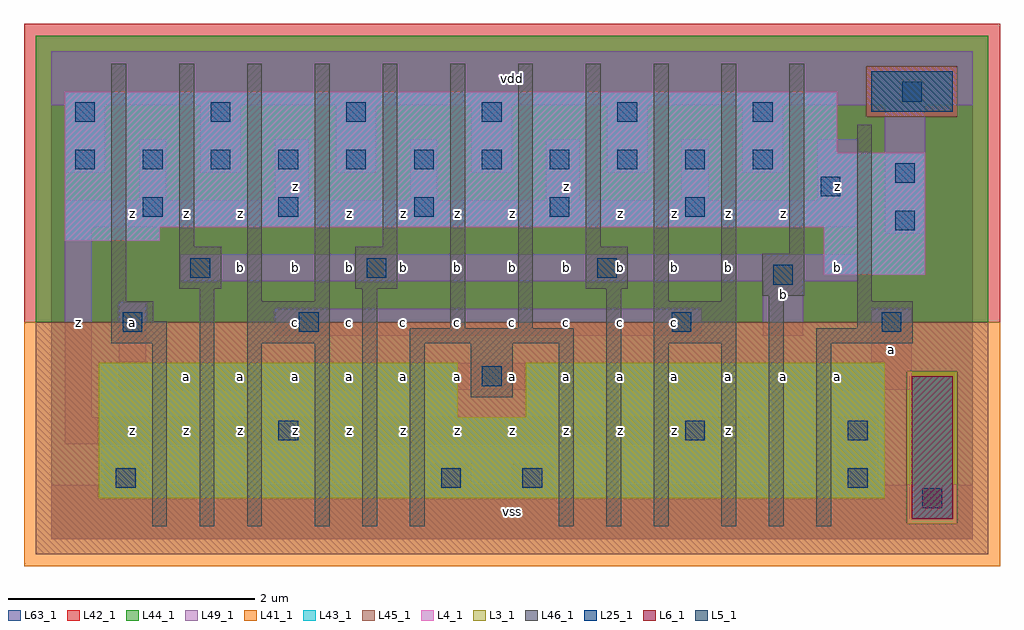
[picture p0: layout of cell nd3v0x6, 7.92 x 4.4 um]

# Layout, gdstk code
import gdstk
lib = gdstk.Library(unit=1e-6, precision=1e-09)
def R(c, l, rs):  # rectangles x0, y0, x1, y1
    for r in rs: c.add(gdstk.rectangle(r[:2], r[2:], *l))
def A(c, l, x, y, w, h, nx, ny, dx, dy):  # array of equal rectangles
    R(c, l, [(x+i*dx, y+j*dy, x+i*dx+w, y+j*dy+h) for i in range(nx) for j in range(ny)])
L3_1 = (3, 1)
L4_1 = (4, 1)
L5_1 = (5, 1)
L6_1 = (6, 1)
L25_1 = (25, 1)
L41_1 = (41, 1)
L42_1 = (42, 1)
L43_1 = (43, 1)
L44_1 = (44, 1)
L45_1 = (45, 1)
L46_1 = (46, 1)
L49_1 = (49, 1)
L63_1 = (63, 1)

nd3v0x6 = lib.new_cell('nd3v0x6')
R(nd3v0x6, L3_1, [(0.385,0.33,6.765,0.99), (0.385,0.99,3.3,1.43), (3.85,0.99,6.765,1.43)])
R(nd3v0x6, L4_1, [(6.27,2.145,7.095,2.53), (0.11,2.42,0.88,2.53), (0.11,2.53,7.095,3.135), (0.11,3.135,6.38,3.63)])
R(nd3v0x6, L5_1, [(6.655,3.465,7.315,3.795)])
R(nd3v0x6, L6_1, [(6.985,0.165,7.315,1.32)])
A(nd3v0x6, L25_1, 0.745, 2.615, 0.16, 0.16, 5, 1, 1.1, 0)
A(nd3v0x6, L25_1, 0.195, 3, 0.16, 0.16, 11, 1, 0.55, 0)
A(nd3v0x6, L25_1, 0.195, 3.385, 0.16, 0.16, 6, 1, 1.1, 0)
R(nd3v0x6, L25_1, [(7.07,0.25,7.23,0.41), (0.525,0.415,0.685,0.575), (3.165,0.415,3.325,0.575), (3.825,0.415,3.985,0.575), (6.465,0.415,6.625,0.575), (1.845,0.8,2.005,0.96), (5.145,0.8,5.305,0.96), (6.465,0.8,6.625,0.96), (3.495,1.24,3.655,1.4), (0.58,1.68,0.74,1.84), (2.01,1.68,2.17,1.84), (5.035,1.68,5.195,1.84), (6.74,1.68,6.9,1.84), (5.86,2.065,6.02,2.225), (1.13,2.12,1.29,2.28), (2.56,2.12,2.72,2.28), (4.43,2.12,4.59,2.28), (6.85,2.505,7.01,2.665), (6.245,2.78,6.405,2.94), (6.85,2.89,7.01,3.05), (6.905,3.55,7.065,3.71)])
R(nd3v0x6, L41_1, [(-0.22,-0.22,7.7,1.76)])
R(nd3v0x6, L42_1, [(-0.22,1.76,7.7,4.18)])
R(nd3v0x6, L43_1, [(6.985,0.165,7.315,1.32), (0.385,0.33,6.765,0.99), (0.385,0.99,3.3,1.43), (3.85,0.99,6.765,1.43), (6.27,2.145,7.095,2.53), (0.11,2.42,0.88,2.53), (0.11,2.53,7.095,3.135), (0.11,3.135,6.38,3.63), (6.655,3.465,7.315,3.795)])
R(nd3v0x6, L44_1, [(6.945,0.125,7.355,1.36), (-0.125,1.76,7.605,3.425), (-0.125,3.425,6.615,3.835), (7.355,3.425,7.605,3.835), (-0.125,3.835,7.605,4.085)])
R(nd3v0x6, L45_1, [(-0.125,-0.125,7.605,0.125), (-0.125,0.125,6.945,1.36), (7.355,0.125,7.605,1.36), (-0.125,1.36,7.605,1.76), (6.615,3.425,7.355,3.835)])
A(nd3v0x6, L46_1, 1.04, 2.37, 0.12, 1.485, 3, 1, 1.65, 0)
R(nd3v0x6, L46_1, [(0.82,0.105,0.94,1.59), (1.205,0.105,1.325,2.03), (1.59,0.105,1.71,1.59), (2.14,0.105,2.26,1.59), (2.525,0.105,2.645,2.03), (2.91,0.105,3.03,1.59), (4.12,0.105,4.24,1.59), (4.505,0.105,4.625,2.03), (4.89,0.105,5.01,1.59), (5.44,0.105,5.56,1.59), (5.825,0.105,5.945,1.975), (6.21,0.105,6.33,1.59), (3.405,1.15,3.745,1.59), (0.49,1.59,0.94,1.765), (1.59,1.59,2.26,1.93), (2.91,1.59,4.24,1.71), (4.89,1.59,5.56,1.93), (6.21,1.59,6.99,1.71), (3.24,1.71,3.36,3.855), (3.79,1.71,3.91,3.855), (6.54,1.71,6.99,1.93), (0.49,1.765,0.83,1.93), (0.49,1.93,0.61,3.855), (1.59,1.93,1.71,3.855), (2.14,1.93,2.26,3.855), (4.89,1.93,5.01,3.855), (5.44,1.93,5.56,3.855), (6.54,1.93,6.66,3.36), (5.77,1.975,6.11,2.315), (1.04,2.03,1.38,2.37), (2.47,2.03,2.81,2.37), (4.34,2.03,4.68,2.37), (5.99,2.315,6.11,3.855)])
A(nd3v0x6, L49_1, 0.715, 2.75, 0.22, 0.495, 3, 1, 2.2, 0)
A(nd3v0x6, L49_1, 0.11, 2.97, 0.33, 0.55, 6, 1, 1.1, 0)
R(nd3v0x6, L49_1, [(0,0,7.48,0.44), (0.44,0.44,0.77,0.605), (3.08,0.44,3.41,0.605), (3.74,0.44,4.07,0.605), (6.38,0.44,6.71,0.99), (0.11,0.77,5.665,0.99), (0.11,0.99,0.33,2.53), (0.55,1.21,6.985,1.43), (0.55,1.43,0.77,1.925), (6.655,1.43,6.985,1.87), (1.815,1.65,5.28,1.87), (5.775,1.65,6.105,2.09), (1.045,2.09,6.545,2.31), (6.765,2.475,7.095,3.52), (0.11,2.53,6.545,2.75), (1.815,2.75,2.09,3.245), (4.015,2.75,4.29,3.245), (6.215,2.75,6.545,3.245), (0,3.52,7.48,3.96)])
R(nd3v0x6, L63_1, [(0,0,7.48,3.96)])
nd3v0x6.add(gdstk.Label('z', (0.66,0.88), layer=49, texttype=1))
nd3v0x6.add(gdstk.Label('z', (0.22,1.76), layer=49, texttype=1))
nd3v0x6.add(gdstk.Label('a', (0.66,1.76), layer=49, texttype=1))
nd3v0x6.add(gdstk.Label('z', (0.66,2.64), layer=49, texttype=1))
nd3v0x6.add(gdstk.Label('z', (1.1,0.88), layer=49, texttype=1))
nd3v0x6.add(gdstk.Label('z', (1.54,0.88), layer=49, texttype=1))
nd3v0x6.add(gdstk.Label('z', (1.98,0.88), layer=49, texttype=1))
nd3v0x6.add(gdstk.Label('a', (1.54,1.32), layer=49, texttype=1))
nd3v0x6.add(gdstk.Label('a', (1.98,1.32), layer=49, texttype=1))
nd3v0x6.add(gdstk.Label('a', (1.1,1.32), layer=49, texttype=1))
nd3v0x6.add(gdstk.Label('c', (1.98,1.76), layer=49, texttype=1))
nd3v0x6.add(gdstk.Label('b', (1.54,2.2), layer=49, texttype=1))
nd3v0x6.add(gdstk.Label('b', (1.98,2.2), layer=49, texttype=1))
nd3v0x6.add(gdstk.Label('z', (1.54,2.64), layer=49, texttype=1))
nd3v0x6.add(gdstk.Label('z', (1.98,2.86), layer=49, texttype=1))
nd3v0x6.add(gdstk.Label('z', (1.1,2.64), layer=49, texttype=1))
nd3v0x6.add(gdstk.Label('z', (2.42,0.88), layer=49, texttype=1))
nd3v0x6.add(gdstk.Label('z', (2.86,0.88), layer=49, texttype=1))
nd3v0x6.add(gdstk.Label('z', (3.3,0.88), layer=49, texttype=1))
nd3v0x6.add(gdstk.Label('a', (2.86,1.32), layer=49, texttype=1))
nd3v0x6.add(gdstk.Label('a', (3.3,1.32), layer=49, texttype=1))
nd3v0x6.add(gdstk.Label('a', (2.42,1.32), layer=49, texttype=1))
nd3v0x6.add(gdstk.Label('c', (2.42,1.76), layer=49, texttype=1))
nd3v0x6.add(gdstk.Label('c', (2.86,1.76), layer=49, texttype=1))
nd3v0x6.add(gdstk.Label('c', (3.3,1.76), layer=49, texttype=1))
nd3v0x6.add(gdstk.Label('b', (2.86,2.2), layer=49, texttype=1))
nd3v0x6.add(gdstk.Label('b', (3.3,2.2), layer=49, texttype=1))
nd3v0x6.add(gdstk.Label('b', (2.42,2.2), layer=49, texttype=1))
nd3v0x6.add(gdstk.Label('z', (2.86,2.64), layer=49, texttype=1))
nd3v0x6.add(gdstk.Label('z', (3.3,2.64), layer=49, texttype=1))
nd3v0x6.add(gdstk.Label('z', (2.42,2.64), layer=49, texttype=1))
nd3v0x6.add(gdstk.Label('vss', (3.74,0.22), layer=49, texttype=1))
nd3v0x6.add(gdstk.Label('z', (3.74,0.88), layer=49, texttype=1))
nd3v0x6.add(gdstk.Label('z', (4.18,0.88), layer=49, texttype=1))
nd3v0x6.add(gdstk.Label('z', (4.62,0.88), layer=49, texttype=1))
nd3v0x6.add(gdstk.Label('a', (4.18,1.32), layer=49, texttype=1))
nd3v0x6.add(gdstk.Label('a', (4.62,1.32), layer=49, texttype=1))
nd3v0x6.add(gdstk.Label('a', (3.74,1.32), layer=49, texttype=1))
nd3v0x6.add(gdstk.Label('c', (3.74,1.76), layer=49, texttype=1))
nd3v0x6.add(gdstk.Label('c', (4.18,1.76), layer=49, texttype=1))
nd3v0x6.add(gdstk.Label('c', (4.62,1.76), layer=49, texttype=1))
nd3v0x6.add(gdstk.Label('b', (4.18,2.2), layer=49, texttype=1))
nd3v0x6.add(gdstk.Label('b', (4.62,2.2), layer=49, texttype=1))
nd3v0x6.add(gdstk.Label('b', (3.74,2.2), layer=49, texttype=1))
nd3v0x6.add(gdstk.Label('z', (4.18,2.86), layer=49, texttype=1))
nd3v0x6.add(gdstk.Label('z', (4.62,2.64), layer=49, texttype=1))
nd3v0x6.add(gdstk.Label('z', (3.74,2.64), layer=49, texttype=1))
nd3v0x6.add(gdstk.Label('vdd', (3.74,3.74), layer=49, texttype=1))
nd3v0x6.add(gdstk.Label('z', (5.06,0.88), layer=49, texttype=1))
nd3v0x6.add(gdstk.Label('z', (5.5,0.88), layer=49, texttype=1))
nd3v0x6.add(gdstk.Label('a', (5.5,1.32), layer=49, texttype=1))
nd3v0x6.add(gdstk.Label('a', (5.94,1.32), layer=49, texttype=1))
nd3v0x6.add(gdstk.Label('a', (5.06,1.32), layer=49, texttype=1))
nd3v0x6.add(gdstk.Label('c', (5.06,1.76), layer=49, texttype=1))
nd3v0x6.add(gdstk.Label('b', (5.5,2.2), layer=49, texttype=1))
nd3v0x6.add(gdstk.Label('b', (5.94,1.98), layer=49, texttype=1))
nd3v0x6.add(gdstk.Label('b', (5.06,2.2), layer=49, texttype=1))
nd3v0x6.add(gdstk.Label('z', (5.5,2.64), layer=49, texttype=1))
nd3v0x6.add(gdstk.Label('z', (5.94,2.64), layer=49, texttype=1))
nd3v0x6.add(gdstk.Label('z', (5.06,2.64), layer=49, texttype=1))
nd3v0x6.add(gdstk.Label('a', (6.82,1.54), layer=49, texttype=1))
nd3v0x6.add(gdstk.Label('a', (6.38,1.32), layer=49, texttype=1))
nd3v0x6.add(gdstk.Label('b', (6.38,2.2), layer=49, texttype=1))
nd3v0x6.add(gdstk.Label('z', (6.38,2.86), layer=49, texttype=1))

lib.write_gds('nd3v0x6.gds')
